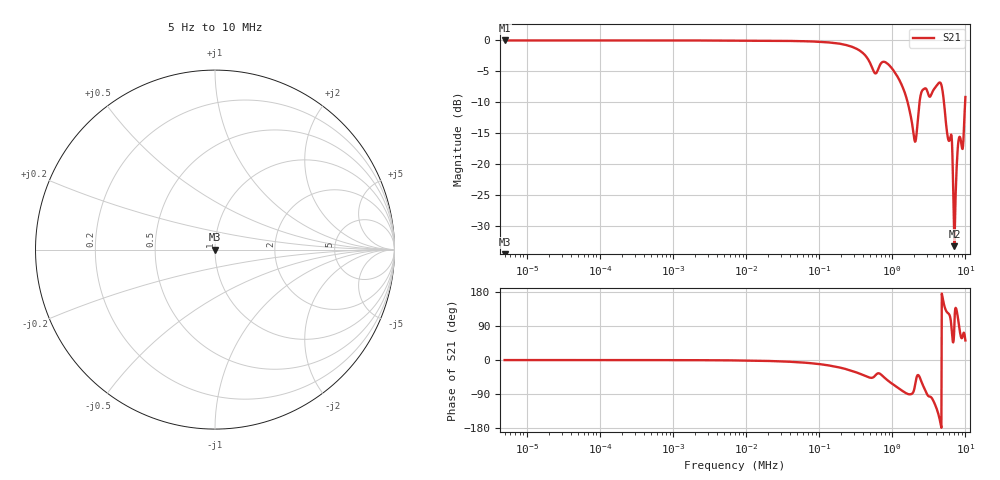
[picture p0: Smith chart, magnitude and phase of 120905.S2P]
!Agilent Technologies,E5061B,MY49204007,A.02.12
!Date: Fri Sep 12 10:13:22 2025
!Data & Calibration Information:
!Freq	S11:SOLT2(OFF)	S21:SOLT2(OFF)	S12:SOLT2(OFF)	S22:SOLT2(OFF)
# Hz S dB R 50
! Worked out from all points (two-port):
!   1041 points, 5 Hz to 10 MHz, reference 50 ohm
!   highest |S21| = -0.04 dB at 5 Hz (marker M1); lowest = -33.3 dB at 7.081 MHz (marker M2)
!   |S21| within 3 dB of the highest: start of sweep to 464.3 kHz
!   lowest |S11| = - dB at 5 Hz (marker M3), VSWR 1.00, Z = 50 + j0 ohm
!   |S11| at or under -10 dB: start of sweep to end of sweep
!   S12 and S22 are empty: the file has one direction only
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5  -200.00 0.0  -0.04 -0.2  -200.00 0.0  -200.00 0.0
56.522  -200.00 0.0  -0.04 -0.2  -200.00 0.0  -200.00 0.0
632.897  -200.00 0.0  -0.04 -0.3  -200.00 0.0  -200.00 0.0
7154.49  -200.00 0.0  -0.06 -1.1  -200.00 0.0  -200.00 0.0
80111.67  -200.00 0.0  -0.21 -8.7  -200.00 0.0  -200.00 0.0
227023  -200.00 0.0  -0.74 -23.4  -200.00 0.0  -200.00 0.0
430507.2  -200.00 0.0  -2.51 -42.4  -200.00 0.0  -200.00 0.0
542681.8  -200.00 0.0  -4.73 -46.3  -200.00 0.0  -200.00 0.0
629755.5  -200.00 0.0  -4.93 -35.4  -200.00 0.0  -200.00 0.0
720704  -200.00 0.0  -3.60 -40.2  -200.00 0.0  -200.00 0.0
893075.1  -200.00 0.0  -3.96 -55.9  -200.00 0.0  -200.00 0.0
1458484  -200.00 0.0  -8.25 -84.7  -200.00 0.0  -200.00 0.0
2010257  -200.00 0.0  -16.12 -74.6  -200.00 0.0  -200.00 0.0
2502620  -200.00 0.0  -8.43 -56.9  -200.00 0.0  -200.00 0.0
3773435  -200.00 0.0  -7.82 -113.9  -200.00 0.0  -200.00 0.0
4568238  -200.00 0.0  -6.91 -167.0  -200.00 0.0  -200.00 0.0
5200581  -200.00 0.0  -11.09 140.3  -200.00 0.0  -200.00 0.0
6296489  -200.00 0.0  -15.47 105.5  -200.00 0.0  -200.00 0.0
7080901  -200.00 0.0  -33.33 94.6  -200.00 0.0  -200.00 0.0
8077920  -200.00 0.0  -16.13 97.9  -200.00 0.0  -200.00 0.0
9159090  -200.00 0.0  -17.60 62.0  -200.00 0.0  -200.00 0.0
1e7  -200.00 0.0  -9.19 51.7  -200.00 0.0  -200.00 0.0
